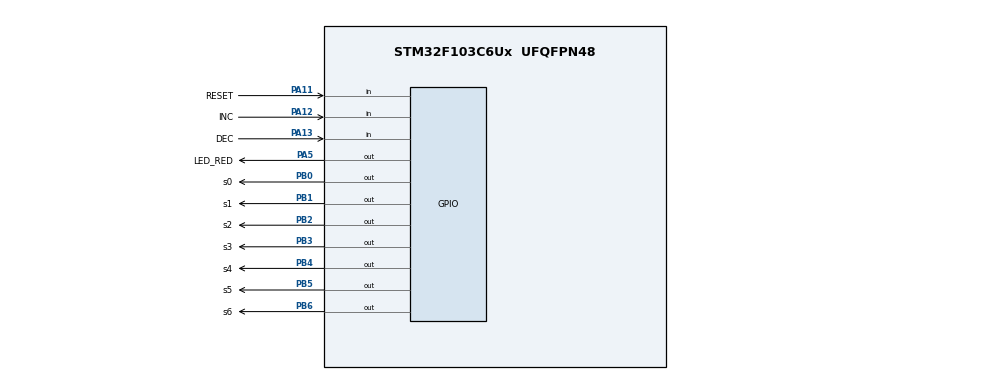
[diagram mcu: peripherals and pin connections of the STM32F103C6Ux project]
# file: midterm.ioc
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Mcu.Family=STM32F1
Mcu.Name=STM32F103C6Ux
Mcu.Package=UFQFPN48
NVIC.PriorityGroup=NVIC_PRIORITYGROUP_4
NVIC.TIM2_IRQn=true\:0\:0\:false\:false\:true\:true\:true
PA11.GPIO_Label=RESET
PA11.GPIO_PuPd=GPIO_PULLUP
PA11.Signal=GPIO_Input
PA12.GPIO_Label=INC
PA12.GPIO_PuPd=GPIO_PULLUP
PA12.Signal=GPIO_Input
PA13.GPIO_Label=DEC
PA13.GPIO_PuPd=GPIO_PULLUP
PA13.Signal=GPIO_Input
PA5.GPIO_Label=LED_RED
PA5.Signal=GPIO_Output
PB0.GPIO_Label=s0
PB0.Signal=GPIO_Output
PB1.GPIO_Label=s1
PB1.Signal=GPIO_Output
PB2.GPIO_Label=s2
PB2.Signal=GPIO_Output
PB3.GPIO_Label=s3
PB3.Signal=GPIO_Output
PB4.GPIO_Label=s4
PB4.Signal=GPIO_Output
PB5.GPIO_Label=s5
PB5.Signal=GPIO_Output
PB6.GPIO_Label=s6
PB6.Signal=GPIO_Output
ProjectManager.HeapSize=0x200
ProjectManager.StackSize=0x400
ProjectManager.TargetToolchain=STM32CubeIDE
RCC.APB1Freq_Value=8000000
RCC.APB2Freq_Value=8000000
TIM2.Period=10
TIM2.Prescaler=7999
VP_SYS_VS_ND.Mode=No_Debug
VP_TIM2_VS_ClockSourceINT.Mode=Internal
board=custom

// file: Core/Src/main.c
/* USER CODE BEGIN Header */
/**
  ******************************************************************************
  * @file           : main.c
  * @brief          : Main program body
  ******************************************************************************
  * @attention
  *
  * <h2><center>&copy; Copyright (c) 2022 STMicroelectronics.
  * All rights reserved.</center></h2>
  *
  * This software component is licensed by ST under BSD 3-Clause license,
  * the "License"; You may not use this file except in compliance with the
  * License. You may obtain a copy of the License at:
  *                        opensource.org/licenses/BSD-3-Clause
  *
  ******************************************************************************
  */
/* USER CODE END Header */
#include "main.h"

/* USER CODE BEGIN Includes */
#include "global.h"
#include "input_reading.h"
#include "fsm_automatic.h"
#include "software_timer.h"

/* USER CODE END Includes */

TIM_HandleTypeDef htim2;

void SystemClock_Config(void);
static void MX_GPIO_Init(void);
static void MX_TIM2_Init(void);

int main(void)
{

  /* MCU Configuration--------------------------------------------------------*/

  /* Reset of all peripherals, Initializes the Flash interface and the Systick. */
  HAL_Init();

  /* Configure the system clock */
  SystemClock_Config();

  /* Initialize all configured peripherals */
  MX_GPIO_Init();
  MX_TIM2_Init();
  HAL_TIM_Base_Start_IT(&htim2);

  /* Infinite loop */
  /* USER CODE BEGIN WHILE */
  setTimer0(1000);
  status = INIT;
  setTimer1(1000);
  setTimer2(1000);
  while (1)
  {
	  if (timer0_flag == 1) {
		  HAL_GPIO_TogglePin(GPIOA,GPIO_PIN_5);
	  		setTimer0(500);
	  	 }
	  display7SEG(counter, GPIOB, 0);
	  fsm_simple_buttons_run();

    /* USER CODE END WHILE */

  }
}

void SystemClock_Config(void)
{
  RCC_OscInitTypeDef RCC_OscInitStruct = {0};
  RCC_ClkInitTypeDef RCC_ClkInitStruct = {0};

  /** Initializes the RCC Oscillators according to the specified parameters
  * in the RCC_OscInitTypeDef structure.
  */
  RCC_OscInitStruct.OscillatorType = RCC_OSCILLATORTYPE_HSI;
  RCC_OscInitStruct.HSIState = RCC_HSI_ON;
  RCC_OscInitStruct.HSICalibrationValue = RCC_HSICALIBRATION_DEFAULT;
  RCC_OscInitStruct.PLL.PLLState = RCC_PLL_NONE;
  if (HAL_RCC_OscConfig(&RCC_OscInitStruct) != HAL_OK)
  {
    Error_Handler();
  }
  /** Initializes the CPU, AHB and APB buses clocks
  */
  RCC_ClkInitStruct.ClockType = RCC_CLOCKTYPE_HCLK|RCC_CLOCKTYPE_SYSCLK
                              |RCC_CLOCKTYPE_PCLK1|RCC_CLOCKTYPE_PCLK2;
  RCC_ClkInitStruct.SYSCLKSource = RCC_SYSCLKSOURCE_HSI;
  RCC_ClkInitStruct.AHBCLKDivider = RCC_SYSCLK_DIV1;
  RCC_ClkInitStruct.APB1CLKDivider = RCC_HCLK_DIV1;
  RCC_ClkInitStruct.APB2CLKDivider = RCC_HCLK_DIV1;

  if (HAL_RCC_ClockConfig(&RCC_ClkInitStruct, FLASH_LATENCY_0) != HAL_OK)
  {
    Error_Handler();
  }
}

static void MX_TIM2_Init(void)
{

  TIM_ClockConfigTypeDef sClockSourceConfig = {0};
  TIM_MasterConfigTypeDef sMasterConfig = {0};

  htim2.Instance = TIM2;
  htim2.Init.Prescaler = 7999;
  htim2.Init.CounterMode = TIM_COUNTERMODE_UP;
  htim2.Init.Period = 10;
  htim2.Init.ClockDivision = TIM_CLOCKDIVISION_DIV1;
  htim2.Init.AutoReloadPreload = TIM_AUTORELOAD_PRELOAD_DISABLE;
  if (HAL_TIM_Base_Init(&htim2) != HAL_OK)
  {
    Error_Handler();
  }
  sClockSourceConfig.ClockSource = TIM_CLOCKSOURCE_INTERNAL;
  if (HAL_TIM_ConfigClockSource(&htim2, &sClockSourceConfig) != HAL_OK)
  {
    Error_Handler();
  }
  sMasterConfig.MasterOutputTrigger = TIM_TRGO_RESET;
  sMasterConfig.MasterSlaveMode = TIM_MASTERSLAVEMODE_DISABLE;
  if (HAL_TIMEx_MasterConfigSynchronization(&htim2, &sMasterConfig) != HAL_OK)
  {
    Error_Handler();
  }

}

static void MX_GPIO_Init(void)
{
  GPIO_InitTypeDef GPIO_InitStruct = {0};

  /* GPIO Ports Clock Enable */
  __HAL_RCC_GPIOA_CLK_ENABLE();
  __HAL_RCC_GPIOB_CLK_ENABLE();

  /*Configure GPIO pin Output Level */
  HAL_GPIO_WritePin(LED_RED_GPIO_Port, LED_RED_Pin, GPIO_PIN_RESET);

  /*Configure GPIO pin Output Level */
  HAL_GPIO_WritePin(GPIOB, s0_Pin|s1_Pin|s2_Pin|s3_Pin
                          |s4_Pin|s5_Pin|s6_Pin, GPIO_PIN_RESET);

  /*Configure GPIO pin : LED_RED_Pin */
  GPIO_InitStruct.Pin = LED_RED_Pin;
  GPIO_InitStruct.Mode = GPIO_MODE_OUTPUT_PP;
  GPIO_InitStruct.Pull = GPIO_NOPULL;
  GPIO_InitStruct.Speed = GPIO_SPEED_FREQ_LOW;
  HAL_GPIO_Init(LED_RED_GPIO_Port, &GPIO_InitStruct);

  /*Configure GPIO pins : s0_Pin s1_Pin s2_Pin s3_Pin
                           s4_Pin s5_Pin s6_Pin */
  GPIO_InitStruct.Pin = s0_Pin|s1_Pin|s2_Pin|s3_Pin
                          |s4_Pin|s5_Pin|s6_Pin;
  GPIO_InitStruct.Mode = GPIO_MODE_OUTPUT_PP;
  GPIO_InitStruct.Pull = GPIO_NOPULL;
  GPIO_InitStruct.Speed = GPIO_SPEED_FREQ_LOW;
  HAL_GPIO_Init(GPIOB, &GPIO_InitStruct);

  /*Configure GPIO pins : RESET_Pin INC_Pin DEC_Pin */
  GPIO_InitStruct.Pin = RESET_Pin|INC_Pin|DEC_Pin;
  GPIO_InitStruct.Mode = GPIO_MODE_INPUT;
  GPIO_InitStruct.Pull = GPIO_PULLUP;
  HAL_GPIO_Init(GPIOA, &GPIO_InitStruct);

}

/* USER CODE BEGIN 4 */
void HAL_TIM_PeriodElapsedCallback(TIM_HandleTypeDef *htim) {
	runTimer();
	button_reading();
}
/* USER CODE END 4 */

void Error_Handler(void)
{
  __disable_irq();
  while (1)
  {
  }
}

/************************ (C) COPYRIGHT STMicroelectronics *****END OF FILE****/
